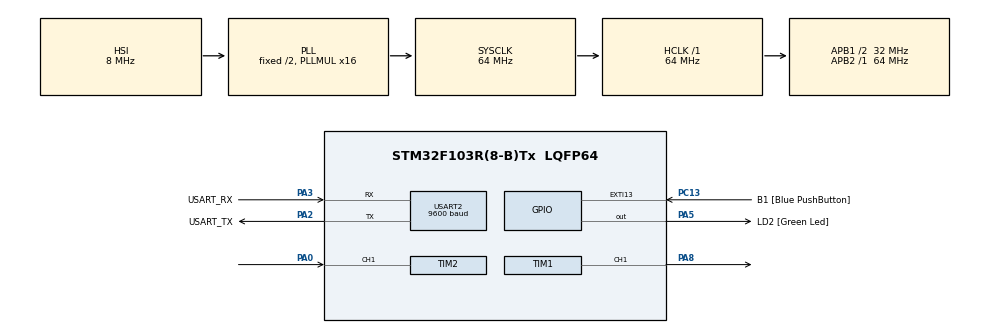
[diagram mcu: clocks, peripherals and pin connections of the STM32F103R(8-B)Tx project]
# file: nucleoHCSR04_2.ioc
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Mcu.Family=STM32F1
Mcu.Name=STM32F103R(8-B)Tx
Mcu.Package=LQFP64
NVIC.EXTI15_10_IRQn=true\:0\:0\:false\:false\:true\:true\:true\:true
NVIC.PriorityGroup=NVIC_PRIORITYGROUP_4
NVIC.TIM2_IRQn=true\:0\:0\:false\:false\:true\:true\:true\:true
NVIC.TIM3_IRQn=true\:0\:0\:false\:false\:true\:true\:true\:true
PA0-WKUP.Signal=S_TIM2_CH1_ETR
PA13.GPIO_Label=TMS
PA13.Mode=Serial_Wire
PA13.Signal=SYS_JTMS-SWDIO
PA14.GPIO_Label=TCK
PA14.Mode=Serial_Wire
PA14.Signal=SYS_JTCK-SWCLK
PA2.GPIO_Label=USART_TX
PA2.GPIO_Mode=GPIO_MODE_AF_PP
PA2.GPIO_PuPd=GPIO_NOPULL
PA2.GPIO_Speed=GPIO_SPEED_FREQ_LOW
PA2.Mode=Asynchronous
PA2.Signal=USART2_TX
PA3.GPIO_Label=USART_RX
PA3.GPIO_Mode=GPIO_MODE_AF_PP
PA3.GPIO_PuPd=GPIO_NOPULL
PA3.GPIO_Speed=GPIO_SPEED_FREQ_LOW
PA3.Mode=Asynchronous
PA3.Signal=USART2_RX
PA5.GPIO_Label=LD2 [Green Led]
PA5.GPIO_ModeDefaultOutputPP=GPIO_MODE_OUTPUT_PP
PA5.GPIO_PuPd=GPIO_NOPULL
PA5.GPIO_Speed=GPIO_SPEED_FREQ_LOW
PA5.Signal=GPIO_Output
PA8.Signal=S_TIM1_CH1
PB3.GPIO_Label=SWO
PB3.Signal=SYS_JTDO-TRACESWO
PC13-TAMPER-RTC.GPIO_Label=B1 [Blue PushButton]
PC13-TAMPER-RTC.GPIO_PuPd=GPIO_NOPULL
PC13-TAMPER-RTC.Signal=GPXTI13
PC14-OSC32_IN.Mode=LSE-External-Oscillator
PC14-OSC32_IN.Signal=RCC_OSC32_IN
PC15-OSC32_OUT.Mode=LSE-External-Oscillator
PC15-OSC32_OUT.Signal=RCC_OSC32_OUT
PD0-OSC_IN.Mode=HSE-External-Clock-Source
PD0-OSC_IN.Signal=RCC_OSC_IN
PD1-OSC_OUT.Mode=HSE-External-Clock-Source
PD1-OSC_OUT.Signal=RCC_OSC_OUT
ProjectManager.HeapSize=0x200
ProjectManager.StackSize=0x400
ProjectManager.TargetToolchain=STM32CubeIDE
RCC.AHBFreq_Value=64000000
RCC.APB1CLKDivider=RCC_HCLK_DIV2
RCC.APB1Freq_Value=32000000
RCC.APB1TimFreq_Value=64000000
RCC.APB2Freq_Value=64000000
RCC.APB2TimFreq_Value=64000000
RCC.HCLKFreq_Value=64000000
RCC.PLLMUL=RCC_PLL_MUL16
RCC.RTCClockSelection=RCC_RTCCLKSOURCE_LSE
RCC.SYSCLKFreq_VALUE=64000000
RCC.SYSCLKSource=RCC_SYSCLKSOURCE_PLLCLK
RCC.USBFreq_Value=64000000
SH.S_TIM1_CH1.0=TIM1_CH1,PWM Generation1 CH1
SH.S_TIM2_CH1_ETR.0=TIM2_CH1,Input_Capture1_from_TI1
TIM1.Channel-PWM\ Generation1\ CH1=TIM_CHANNEL_1
TIM1.Period=999
TIM1.Prescaler=63
TIM1.Pulse-PWM\ Generation1\ CH1=100
TIM2.Channel-Input_Capture1_from_TI1=TIM_CHANNEL_1
TIM2.ICFilter_CH1=0
TIM2.Period=30000
TIM2.Prescaler=63
TIM3.Channel-Output\ Compare1\ No\ Output=TIM_CHANNEL_1
TIM3.Period=50000
TIM3.Prescaler=63
TIM3.Pulse-Output\ Compare1\ No\ Output=999
USART2.BaudRate=9600
USART2.VirtualMode=VM_ASYNC
VP_TIM1_VS_ClockSourceINT.Mode=Internal
VP_TIM2_VS_ClockSourceINT.Mode=Internal
VP_TIM3_VS_ClockSourceINT.Mode=Internal
VP_TIM3_VS_no_output1.Mode=Output Compare1 No Output
board=NUCLEO-F103RB

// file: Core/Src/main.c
/* USER CODE BEGIN Header */
/**
  ******************************************************************************
  * @file           : main.c
  * @brief          : Main program body
  ******************************************************************************
  * @attention
  *
  * Copyright (c) 2022 STMicroelectronics.
  * All rights reserved.
  *
  * This software is licensed under terms that can be found in the LICENSE file
  * in the root directory of this software component.
  * If no LICENSE file comes with this software, it is provided AS-IS.
  *
  ******************************************************************************
  */
/* USER CODE END Header */
#include "main.h"

 TIM_HandleTypeDef htim1;
TIM_HandleTypeDef htim2;
TIM_HandleTypeDef htim3;

UART_HandleTypeDef huart2;

/* USER CODE BEGIN PV */
uint32_t IC1, IC2;
int captureFlag=0;
uint32_t pulseWidth;
uint32_t freq;
uint32_t dis;
/* USER CODE END PV */

void SystemClock_Config(void);
static void MX_GPIO_Init(void);
static void MX_USART2_UART_Init(void);
static void MX_TIM1_Init(void);
static void MX_TIM2_Init(void);
static void MX_TIM3_Init(void);

/* USER CODE BEGIN 0 */

#ifdef __GNUC__
/* With GCC, small printf (option LD Linker->Libraries->Small printf
   set to 'Yes') calls __io_putchar() */
#define PUTCHAR_PROTOTYPE int __io_putchar(int ch)
#else
#define PUTCHAR_PROTOTYPE int fputc(int ch, FILE *f)
#endif /* __GNUC__ */

PUTCHAR_PROTOTYPE
{
  /* Place your implementation of fputc here */
  /* e.g. write a character to the USART1 and Loop until the end of transmission */
  HAL_UART_Transmit(&huart2, (uint8_t *)&ch, 1, 0xFFFF);

  return ch;
}

void HAL_TIM_IC_CaptureCallback(TIM_HandleTypeDef *htim)
{
	if(htim->Channel == HAL_TIM_ACTIVE_CHANNEL_1)
	{
		if(captureFlag == 0)
		{
			IC1 = HAL_TIM_ReadCapturedValue(htim, TIM_CHANNEL_1);
			captureFlag =1;
			__HAL_TIM_SET_CAPTUREPOLARITY(htim,TIM_CHANNEL_1,TIM_INPUTCHANNELPOLARITY_FALLING);
		}
		else if(captureFlag==1)
		{
			IC2 = HAL_TIM_ReadCapturedValue(htim, TIM_CHANNEL_1);
			__HAL_TIM_SET_CAPTUREPOLARITY(htim,TIM_CHANNEL_1,TIM_INPUTCHANNELPOLARITY_RISING);
			freq = IC2-IC1;
			if(freq <=0) freq = 0;
			dis = freq *170/1000;
			captureFlag = 0;
			__HAL_TIM_SET_COUNTER(&htim2, 0);
		}
	}

	}
void delay_us(uint16_t delay)
{
	__HAL_TIM_SET_COUNTER(&htim3,0);
	while(__HAL_TIM_GET_COUNTER(&htim3)<delay);
}
/* USER CODE END 0 */

int main(void)
{

  /* MCU Configuration--------------------------------------------------------*/

  /* Reset of all peripherals, Initializes the Flash interface and the Systick. */
  HAL_Init();

  /* Configure the system clock */
  SystemClock_Config();

  /* Initialize all configured peripherals */
  MX_GPIO_Init();
  MX_USART2_UART_Init();
  MX_TIM1_Init();
  MX_TIM2_Init();
  MX_TIM3_Init();
  /* USER CODE BEGIN 2 */
  HAL_TIM_PWM_Start(&htim1, TIM_CHANNEL_1);
  HAL_TIM_IC_Start_IT(&htim2, TIM_CHANNEL_1);
  HAL_TIM_OC_Start_IT(&htim3, TIM_CHANNEL_1);
  /* USER CODE END 2 */

  /* Infinite loop */
  while (1)
  {

    /* USER CODE BEGIN 3 */
//	  printf("IC2 : %u IC1 : %u\r\n",IC2,IC1);
//	  printf("TIME : %u\r\n",freq);
	  printf("DIS : %d\r\n",dis); // @suppress("Float formatting support")

	  delay_us(100000);
  }
  /* USER CODE END 3 */
}

void SystemClock_Config(void)
{
  RCC_OscInitTypeDef RCC_OscInitStruct = {0};
  RCC_ClkInitTypeDef RCC_ClkInitStruct = {0};

  /** Initializes the RCC Oscillators according to the specified parameters
  * in the RCC_OscInitTypeDef structure.
  */
  RCC_OscInitStruct.OscillatorType = RCC_OSCILLATORTYPE_HSI;
  RCC_OscInitStruct.HSIState = RCC_HSI_ON;
  RCC_OscInitStruct.HSICalibrationValue = RCC_HSICALIBRATION_DEFAULT;
  RCC_OscInitStruct.PLL.PLLState = RCC_PLL_ON;
  RCC_OscInitStruct.PLL.PLLSource = RCC_PLLSOURCE_HSI_DIV2;
  RCC_OscInitStruct.PLL.PLLMUL = RCC_PLL_MUL16;
  if (HAL_RCC_OscConfig(&RCC_OscInitStruct) != HAL_OK)
  {
    Error_Handler();
  }

  /** Initializes the CPU, AHB and APB buses clocks
  */
  RCC_ClkInitStruct.ClockType = RCC_CLOCKTYPE_HCLK|RCC_CLOCKTYPE_SYSCLK
                              |RCC_CLOCKTYPE_PCLK1|RCC_CLOCKTYPE_PCLK2;
  RCC_ClkInitStruct.SYSCLKSource = RCC_SYSCLKSOURCE_PLLCLK;
  RCC_ClkInitStruct.AHBCLKDivider = RCC_SYSCLK_DIV1;
  RCC_ClkInitStruct.APB1CLKDivider = RCC_HCLK_DIV2;
  RCC_ClkInitStruct.APB2CLKDivider = RCC_HCLK_DIV1;

  if (HAL_RCC_ClockConfig(&RCC_ClkInitStruct, FLASH_LATENCY_2) != HAL_OK)
  {
    Error_Handler();
  }
}

static void MX_TIM1_Init(void)
{

  TIM_ClockConfigTypeDef sClockSourceConfig = {0};
  TIM_MasterConfigTypeDef sMasterConfig = {0};
  TIM_OC_InitTypeDef sConfigOC = {0};
  TIM_BreakDeadTimeConfigTypeDef sBreakDeadTimeConfig = {0};

  htim1.Instance = TIM1;
  htim1.Init.Prescaler = 63;
  htim1.Init.CounterMode = TIM_COUNTERMODE_UP;
  htim1.Init.Period = 999;
  htim1.Init.ClockDivision = TIM_CLOCKDIVISION_DIV1;
  htim1.Init.RepetitionCounter = 0;
  htim1.Init.AutoReloadPreload = TIM_AUTORELOAD_PRELOAD_DISABLE;
  if (HAL_TIM_Base_Init(&htim1) != HAL_OK)
  {
    Error_Handler();
  }
  sClockSourceConfig.ClockSource = TIM_CLOCKSOURCE_INTERNAL;
  if (HAL_TIM_ConfigClockSource(&htim1, &sClockSourceConfig) != HAL_OK)
  {
    Error_Handler();
  }
  if (HAL_TIM_PWM_Init(&htim1) != HAL_OK)
  {
    Error_Handler();
  }
  sMasterConfig.MasterOutputTrigger = TIM_TRGO_RESET;
  sMasterConfig.MasterSlaveMode = TIM_MASTERSLAVEMODE_DISABLE;
  if (HAL_TIMEx_MasterConfigSynchronization(&htim1, &sMasterConfig) != HAL_OK)
  {
    Error_Handler();
  }
  sConfigOC.OCMode = TIM_OCMODE_PWM1;
  sConfigOC.Pulse = 100;
  sConfigOC.OCPolarity = TIM_OCPOLARITY_HIGH;
  sConfigOC.OCNPolarity = TIM_OCNPOLARITY_HIGH;
  sConfigOC.OCFastMode = TIM_OCFAST_DISABLE;
  sConfigOC.OCIdleState = TIM_OCIDLESTATE_RESET;
  sConfigOC.OCNIdleState = TIM_OCNIDLESTATE_RESET;
  if (HAL_TIM_PWM_ConfigChannel(&htim1, &sConfigOC, TIM_CHANNEL_1) != HAL_OK)
  {
    Error_Handler();
  }
  sBreakDeadTimeConfig.OffStateRunMode = TIM_OSSR_DISABLE;
  sBreakDeadTimeConfig.OffStateIDLEMode = TIM_OSSI_DISABLE;
  sBreakDeadTimeConfig.LockLevel = TIM_LOCKLEVEL_OFF;
  sBreakDeadTimeConfig.DeadTime = 0;
  sBreakDeadTimeConfig.BreakState = TIM_BREAK_DISABLE;
  sBreakDeadTimeConfig.BreakPolarity = TIM_BREAKPOLARITY_HIGH;
  sBreakDeadTimeConfig.AutomaticOutput = TIM_AUTOMATICOUTPUT_DISABLE;
  if (HAL_TIMEx_ConfigBreakDeadTime(&htim1, &sBreakDeadTimeConfig) != HAL_OK)
  {
    Error_Handler();
  }
  HAL_TIM_MspPostInit(&htim1);

}

static void MX_TIM2_Init(void)
{

  TIM_ClockConfigTypeDef sClockSourceConfig = {0};
  TIM_MasterConfigTypeDef sMasterConfig = {0};
  TIM_IC_InitTypeDef sConfigIC = {0};

  htim2.Instance = TIM2;
  htim2.Init.Prescaler = 63;
  htim2.Init.CounterMode = TIM_COUNTERMODE_UP;
  htim2.Init.Period = 30000;
  htim2.Init.ClockDivision = TIM_CLOCKDIVISION_DIV1;
  htim2.Init.AutoReloadPreload = TIM_AUTORELOAD_PRELOAD_DISABLE;
  if (HAL_TIM_Base_Init(&htim2) != HAL_OK)
  {
    Error_Handler();
  }
  sClockSourceConfig.ClockSource = TIM_CLOCKSOURCE_INTERNAL;
  if (HAL_TIM_ConfigClockSource(&htim2, &sClockSourceConfig) != HAL_OK)
  {
    Error_Handler();
  }
  if (HAL_TIM_IC_Init(&htim2) != HAL_OK)
  {
    Error_Handler();
  }
  sMasterConfig.MasterOutputTrigger = TIM_TRGO_RESET;
  sMasterConfig.MasterSlaveMode = TIM_MASTERSLAVEMODE_DISABLE;
  if (HAL_TIMEx_MasterConfigSynchronization(&htim2, &sMasterConfig) != HAL_OK)
  {
    Error_Handler();
  }
  sConfigIC.ICPolarity = TIM_INPUTCHANNELPOLARITY_RISING;
  sConfigIC.ICSelection = TIM_ICSELECTION_DIRECTTI;
  sConfigIC.ICPrescaler = TIM_ICPSC_DIV1;
  sConfigIC.ICFilter = 0;
  if (HAL_TIM_IC_ConfigChannel(&htim2, &sConfigIC, TIM_CHANNEL_1) != HAL_OK)
  {
    Error_Handler();
  }

}

static void MX_TIM3_Init(void)
{

  TIM_ClockConfigTypeDef sClockSourceConfig = {0};
  TIM_MasterConfigTypeDef sMasterConfig = {0};
  TIM_OC_InitTypeDef sConfigOC = {0};

  htim3.Instance = TIM3;
  htim3.Init.Prescaler = 63;
  htim3.Init.CounterMode = TIM_COUNTERMODE_UP;
  htim3.Init.Period = 50000;
  htim3.Init.ClockDivision = TIM_CLOCKDIVISION_DIV1;
  htim3.Init.AutoReloadPreload = TIM_AUTORELOAD_PRELOAD_DISABLE;
  if (HAL_TIM_Base_Init(&htim3) != HAL_OK)
  {
    Error_Handler();
  }
  sClockSourceConfig.ClockSource = TIM_CLOCKSOURCE_INTERNAL;
  if (HAL_TIM_ConfigClockSource(&htim3, &sClockSourceConfig) != HAL_OK)
  {
    Error_Handler();
  }
  if (HAL_TIM_OC_Init(&htim3) != HAL_OK)
  {
    Error_Handler();
  }
  sMasterConfig.MasterOutputTrigger = TIM_TRGO_RESET;
  sMasterConfig.MasterSlaveMode = TIM_MASTERSLAVEMODE_DISABLE;
  if (HAL_TIMEx_MasterConfigSynchronization(&htim3, &sMasterConfig) != HAL_OK)
  {
    Error_Handler();
  }
  sConfigOC.OCMode = TIM_OCMODE_TIMING;
  sConfigOC.Pulse = 999;
  sConfigOC.OCPolarity = TIM_OCPOLARITY_HIGH;
  sConfigOC.OCFastMode = TIM_OCFAST_DISABLE;
  if (HAL_TIM_OC_ConfigChannel(&htim3, &sConfigOC, TIM_CHANNEL_1) != HAL_OK)
  {
    Error_Handler();
  }

}

static void MX_USART2_UART_Init(void)
{

  huart2.Instance = USART2;
  huart2.Init.BaudRate = 9600;
  huart2.Init.WordLength = UART_WORDLENGTH_8B;
  huart2.Init.StopBits = UART_STOPBITS_1;
  huart2.Init.Parity = UART_PARITY_NONE;
  huart2.Init.Mode = UART_MODE_TX_RX;
  huart2.Init.HwFlowCtl = UART_HWCONTROL_NONE;
  huart2.Init.OverSampling = UART_OVERSAMPLING_16;
  if (HAL_UART_Init(&huart2) != HAL_OK)
  {
    Error_Handler();
  }

}

static void MX_GPIO_Init(void)
{
  GPIO_InitTypeDef GPIO_InitStruct = {0};

  /* GPIO Ports Clock Enable */
  __HAL_RCC_GPIOC_CLK_ENABLE();
  __HAL_RCC_GPIOD_CLK_ENABLE();
  __HAL_RCC_GPIOA_CLK_ENABLE();
  __HAL_RCC_GPIOB_CLK_ENABLE();

  /*Configure GPIO pin Output Level */
  HAL_GPIO_WritePin(LD2_GPIO_Port, LD2_Pin, GPIO_PIN_RESET);

  /*Configure GPIO pin : B1_Pin */
  GPIO_InitStruct.Pin = B1_Pin;
  GPIO_InitStruct.Mode = GPIO_MODE_IT_RISING;
  GPIO_InitStruct.Pull = GPIO_NOPULL;
  HAL_GPIO_Init(B1_GPIO_Port, &GPIO_InitStruct);

  /*Configure GPIO pin : LD2_Pin */
  GPIO_InitStruct.Pin = LD2_Pin;
  GPIO_InitStruct.Mode = GPIO_MODE_OUTPUT_PP;
  GPIO_InitStruct.Pull = GPIO_NOPULL;
  GPIO_InitStruct.Speed = GPIO_SPEED_FREQ_LOW;
  HAL_GPIO_Init(LD2_GPIO_Port, &GPIO_InitStruct);

  /* EXTI interrupt init*/
  HAL_NVIC_SetPriority(EXTI15_10_IRQn, 0, 0);
  HAL_NVIC_EnableIRQ(EXTI15_10_IRQn);

}

void Error_Handler(void)
{
  __disable_irq();
  while (1)
  {
  }
}
